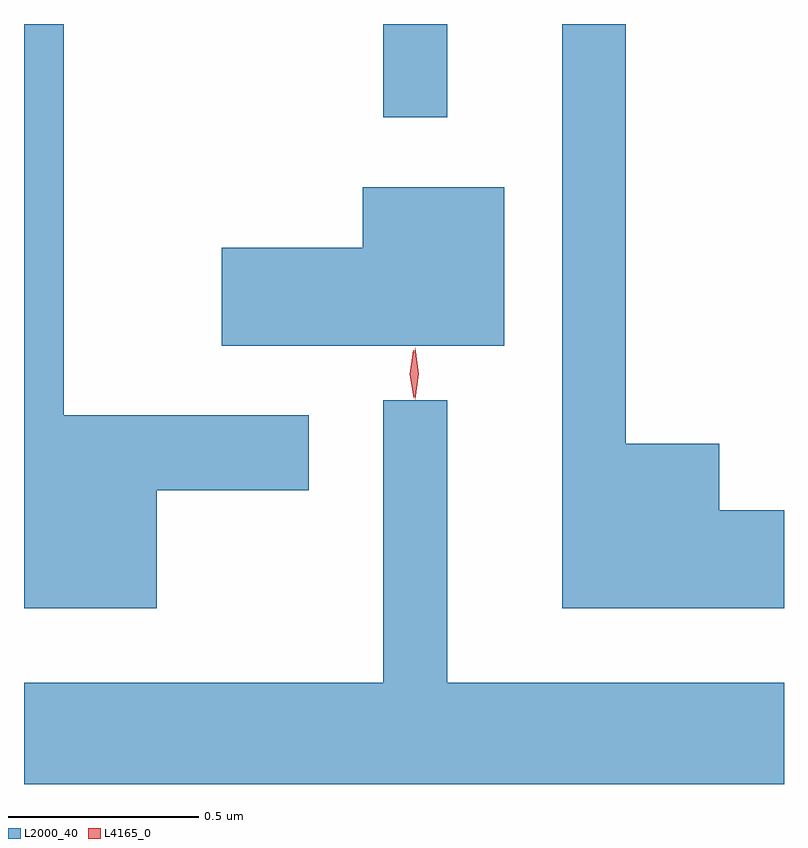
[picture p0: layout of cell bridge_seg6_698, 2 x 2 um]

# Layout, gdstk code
import gdstk
lib = gdstk.Library(unit=1e-6, precision=1e-09)
def R(c, l, rs):  # rectangles x0, y0, x1, y1
    for r in rs: c.add(gdstk.rectangle(r[:2], r[2:], *l))
def P(c, l, *ps):  # polygons
    for p in ps: c.add(gdstk.Polygon(p, *l))
L2000_40 = (2000, 40)
L4165_0 = (4165, 0)

bridge_seg6_698 = lib.new_cell('bridge_seg6_698')
R(bridge_seg6_698, L2000_40, [(197.961,1640.593,198.129,1640.838)])
P(bridge_seg6_698, L2000_40, [(199.015,1639.559),(198.844,1639.559),(198.844,1639.734),(198.599,1639.734),(198.599,1640.838),(198.431,1640.838),(198.431,1639.301),(199.015,1639.301)],
  [(197.364,1639.611),(197.764,1639.611),(197.764,1639.809),(197.119,1639.809),(197.119,1640.838),(197.015,1640.838),(197.015,1639.301),(197.364,1639.301)],
  [(198.279,1640.409),(197.906,1640.409),(197.906,1640.249),(197.536,1640.249),(197.536,1639.991),(198.279,1639.991)],
  [(199.015,1639.104),(198.129,1639.104),(198.129,1639.848),(197.961,1639.848),(197.961,1639.104),(197.015,1639.104),(197.015,1638.838),(199.015,1638.838)])
P(bridge_seg6_698, L4165_0, [(198.044,1639.85),(198.035,1639.918),(198.044,1639.985),(198.044,1639.986),(198.045,1639.985),(198.054,1639.918),(198.045,1639.85),(198.045,1639.85)],
  [(198.04,1639.853),(198.03,1639.916),(198.039,1639.979),(198.04,1639.98),(198.04,1639.979),(198.05,1639.916),(198.041,1639.853),(198.041,1639.853)])

lib.write_gds('bridge_seg6_698.gds')
